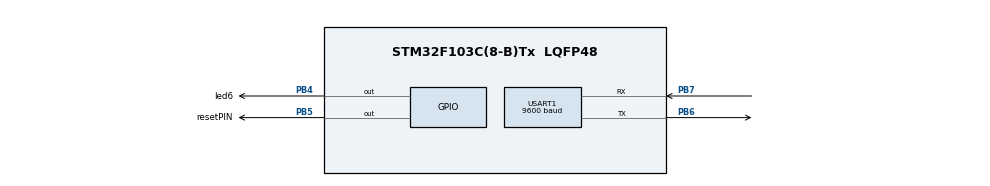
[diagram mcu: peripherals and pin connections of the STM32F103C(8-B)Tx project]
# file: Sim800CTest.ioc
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Mcu.Family=STM32F1
Mcu.Name=STM32F103C(8-B)Tx
Mcu.Package=LQFP48
NVIC.PriorityGroup=NVIC_PRIORITYGROUP_4
NVIC.USART1_IRQn=true\:0\:0\:false\:false\:true\:true\:true
PA13.Mode=Serial_Wire
PA13.Signal=SYS_JTMS-SWDIO
PA14.Mode=Serial_Wire
PA14.Signal=SYS_JTCK-SWCLK
PB4.GPIO_Label=led6
PB4.Signal=GPIO_Output
PB5.GPIO_Label=resetPIN
PB5.Signal=GPIO_Output
PB6.Mode=Asynchronous
PB6.Signal=USART1_TX
PB7.Mode=Asynchronous
PB7.Signal=USART1_RX
PD0-OSC_IN.Mode=HSE-External-Oscillator
PD0-OSC_IN.Signal=RCC_OSC_IN
PD1-OSC_OUT.Mode=HSE-External-Oscillator
PD1-OSC_OUT.Signal=RCC_OSC_OUT
ProjectManager.HeapSize=0x200
ProjectManager.StackSize=0x400
ProjectManager.TargetToolchain=STM32CubeIDE
RCC.APB1Freq_Value=8000000
RCC.APB2Freq_Value=8000000
USART1.BaudRate=9600
USART1.VirtualMode=VM_ASYNC
board=custom

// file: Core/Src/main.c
/* USER CODE BEGIN Header */
/**
  ******************************************************************************
  * @file           : main.c
  * @brief          : Main program body
  ******************************************************************************
  * @attention
  *
  * <h2><center>&copy; Copyright (c) 2020 STMicroelectronics.
  * All rights reserved.</center></h2>
  *
  * This software component is licensed by ST under BSD 3-Clause license,
  * the "License"; You may not use this file except in compliance with the
  * License. You may obtain a copy of the License at:
  *                        opensource.org/licenses/BSD-3-Clause
  *
  ******************************************************************************
  */
/* USER CODE END Header */
#include "main.h"
#include "usart.h"
#include "gpio.h"

/* USER CODE BEGIN PV */
char ctrlz = 26;
uint8_t newLine = '\r';
int RxIndex = 0;
int RxCIndex = 0;
char Data[256];
char command[256];
char Dest[2];
int CheckSMS = 0;
uint8_t ReceiveData = 0;
int CellBackUp = 0;
int trueS = 1;
/* USER CODE END PV */

void SystemClock_Config(void);

/* USER CODE BEGIN 0 */
int SIM800_SendCommand(char *command1, char *reply, uint16_t delay) {
	HAL_UART_Transmit_IT(&huart1, (unsigned char*) command1,
			(uint16_t) strlen(command1));
//    __HAL_IWDG_RELOAD_COUNTER(&hiwdg);
	HAL_Delay(delay);
	if (strstr(command, reply) != NULL) {
		RxIndex = 0;
		memset(Data, 0, sizeof(Data));
		return 0;
	}
	RxIndex = 0;
	memset(Data, 0, sizeof(Data));
	return 1;
}
/* USER CODE END 0 */

int main(void)
{

  /* MCU Configuration--------------------------------------------------------*/

  /* Reset of all peripherals, Initializes the Flash interface and the Systick. */
  HAL_Init();

  /* Configure the system clock */
  SystemClock_Config();

  /* Initialize all configured peripherals */
  MX_GPIO_Init();
  MX_USART1_UART_Init();
  /* USER CODE BEGIN 2 */
  HAL_GPIO_WritePin(resetPIN_GPIO_Port ,resetPIN_Pin , 0);
  HAL_UART_Receive_IT(&huart1, &ReceiveData, 1);
  /* USER CODE END 2 */

  /* Infinite loop */
  /* USER CODE BEGIN WHILE */
  while (1)
  {

		SIM800_SendCommand("AT+COPS?\r\n", "+COPS:", 5000);
		SIM800_SendCommand("AT+CSMINS?\r\n", "+CSMINS:", 5000);
		SIM800_SendCommand("AT+CSMP=17,167,0,0\r\n", "OK", 5000);
		SIM800_SendCommand("AT+CMGF=1\r\n", "OK", 2000);
    /* USER CODE END WHILE */

  }
}

void SystemClock_Config(void)
{
  RCC_OscInitTypeDef RCC_OscInitStruct = {0};
  RCC_ClkInitTypeDef RCC_ClkInitStruct = {0};

  /** Initializes the RCC Oscillators according to the specified parameters
  * in the RCC_OscInitTypeDef structure.
  */
  RCC_OscInitStruct.OscillatorType = RCC_OSCILLATORTYPE_HSI;
  RCC_OscInitStruct.HSIState = RCC_HSI_ON;
  RCC_OscInitStruct.HSICalibrationValue = RCC_HSICALIBRATION_DEFAULT;
  RCC_OscInitStruct.PLL.PLLState = RCC_PLL_NONE;
  if (HAL_RCC_OscConfig(&RCC_OscInitStruct) != HAL_OK)
  {
    Error_Handler();
  }
  /** Initializes the CPU, AHB and APB buses clocks
  */
  RCC_ClkInitStruct.ClockType = RCC_CLOCKTYPE_HCLK|RCC_CLOCKTYPE_SYSCLK
                              |RCC_CLOCKTYPE_PCLK1|RCC_CLOCKTYPE_PCLK2;
  RCC_ClkInitStruct.SYSCLKSource = RCC_SYSCLKSOURCE_HSI;
  RCC_ClkInitStruct.AHBCLKDivider = RCC_SYSCLK_DIV1;
  RCC_ClkInitStruct.APB1CLKDivider = RCC_HCLK_DIV1;
  RCC_ClkInitStruct.APB2CLKDivider = RCC_HCLK_DIV1;

  if (HAL_RCC_ClockConfig(&RCC_ClkInitStruct, FLASH_LATENCY_0) != HAL_OK)
  {
    Error_Handler();
  }
}

/* USER CODE BEGIN 4 */
void HAL_UART_RxCpltCallback(UART_HandleTypeDef *huart) {
		HAL_GPIO_TogglePin(led6_GPIO_Port, led6_Pin);
//	__HAL_IWDG_RELOAD_COUNTER(&hiwdg);
	if (huart->Instance == USART1) {
		Data[RxIndex] = ReceiveData;
		RxIndex++;

		if (strstr(Data, "\r\n") != NULL && RxIndex == 2) {
			RxIndex = 0;
		} else if (strstr(Data, "\r\n") != NULL) {
//			__HAL_IWDG_RELOAD_COUNTER(&hiwdg);
			memcpy(command, Data, sizeof(Data));
			RxIndex = 0;

		HAL_UART_Receive_IT(&huart1, &ReceiveData, 1);
	}
//	__HAL_IWDG_RELOAD_COUNTER(&hiwdg);

}

/* USER CODE END 4 */

void Error_Handler(void)
{
}

/************************ (C) COPYRIGHT STMicroelectronics *****END OF FILE****/
